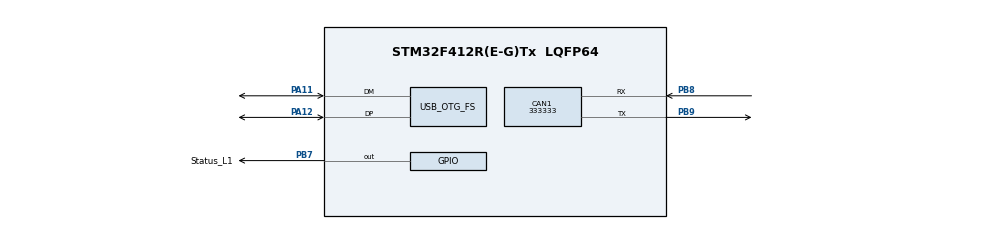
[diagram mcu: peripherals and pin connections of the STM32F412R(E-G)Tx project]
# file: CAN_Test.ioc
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CAN1.CalculateBaudRate=333333
CAN1.CalculateTimeBit=3000
CAN1.CalculateTimeQuantum=1000.0
Mcu.Family=STM32F4
Mcu.Name=STM32F412R(E-G)Tx
Mcu.Package=LQFP64
NVIC.PriorityGroup=NVIC_PRIORITYGROUP_4
PA11.Mode=Device_Only
PA11.Signal=USB_OTG_FS_DM
PA12.Mode=Device_Only
PA12.Signal=USB_OTG_FS_DP
PA13.Mode=Trace_Asynchronous_SW
PA13.Signal=SYS_JTMS-SWDIO
PA14.Mode=Trace_Asynchronous_SW
PA14.Signal=SYS_JTCK-SWCLK
PB3.Mode=Trace_Asynchronous_SW
PB3.Signal=SYS_JTDO-SWO
PB7.GPIO_Label=Status_L1
PB7.Signal=GPIO_Output
PB8.Mode=CAN_Activate
PB8.Signal=CAN1_RX
PB9.Mode=CAN_Activate
PB9.Signal=CAN1_TX
PH0\ -\ OSC_IN.Mode=HSE-External-Oscillator
PH0\ -\ OSC_IN.Signal=RCC_OSC_IN
PH1\ -\ OSC_OUT.Mode=HSE-External-Oscillator
PH1\ -\ OSC_OUT.Signal=RCC_OSC_OUT
ProjectManager.HeapSize=0x200
ProjectManager.StackSize=0x400
ProjectManager.TargetToolchain=STM32CubeIDE
RCC.CortexFreq_Value=16000000
RCC.PLLM=15
RCC.PLLN=144
RCC.PLLQ=5
RCC.USBFreq_Value=48000000
RCC.VCOOutputFreq_Value=240000000
USB_OTG_FS.VirtualMode=Device_Only
board=custom

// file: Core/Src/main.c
/* USER CODE BEGIN Header */
/**
  ******************************************************************************
  * @file           : main.c
  * @brief          : Main program body
  ******************************************************************************
  * @attention
  *
  * Copyright (c) 2022 STMicroelectronics.
  * All rights reserved.
  *
  * This software is licensed under terms that can be found in the LICENSE file
  * in the root directory of this software component.
  * If no LICENSE file comes with this software, it is provided AS-IS.
  *
  ******************************************************************************
  */
/* USER CODE END Header */
#include "main.h"

/* USER CODE BEGIN PD */
#define MASTER
// #define SLAVE
/* USER CODE END PD */

CAN_HandleTypeDef hcan1;

PCD_HandleTypeDef hpcd_USB_OTG_FS;

void SystemClock_Config(void);
static void MX_GPIO_Init(void);
static void MX_CAN1_Init(void);
static void MX_USB_OTG_FS_PCD_Init(void);

/* USER CODE BEGIN 0 */
CAN_TxHeaderTypeDef	TxHeader;
CAN_RxHeaderTypeDef RxHeader;
uint8_t TxData[8];
uint8_t RxData[8];

uint32_t TxMailbox;

/* USER CODE END 0 */

int main(void)
{

  /* MCU Configuration--------------------------------------------------------*/

  /* Reset of all peripherals, Initializes the Flash interface and the Systick. */
  HAL_Init();

  /* Configure the system clock */
  SystemClock_Config();

  /* Initialize all configured peripherals */
  MX_GPIO_Init();
  MX_CAN1_Init();
  MX_USB_OTG_FS_PCD_Init();
  /* USER CODE BEGIN 2 */
  HAL_CAN_Start(&hcan1);

  HAL_CAN_ActivateNotification(&hcan1,CAN_IT_RX_FIFO0_MSG_PENDING);

  TxHeader.DLC = 2;  // data length
  TxHeader.IDE = CAN_ID_STD;
  TxHeader.RTR = CAN_RTR_DATA;
  TxData[0] = 0x10;
  TxData[1] = 0x11;

#ifdef MASTER
  TxHeader.StdId = 0x446;  // ID
  HAL_GPIO_WritePin(GPIOA,GPIO_PIN_2,SET);
  HAL_CAN_AddTxMessage(&hcan1,&TxHeader,TxData,&TxMailbox);
#else
  TxHeader.StdId = 0x445;  // ID
#endif
  /* USER CODE END 2 */

  /* Infinite loop */
  while (1)
  {

  }
}

void SystemClock_Config(void)
{
  RCC_OscInitTypeDef RCC_OscInitStruct = {0};
  RCC_ClkInitTypeDef RCC_ClkInitStruct = {0};

  /** Configure the main internal regulator output voltage
  */
  __HAL_RCC_PWR_CLK_ENABLE();
  __HAL_PWR_VOLTAGESCALING_CONFIG(PWR_REGULATOR_VOLTAGE_SCALE1);

  /** Initializes the RCC Oscillators according to the specified parameters
  * in the RCC_OscInitTypeDef structure.
  */
  RCC_OscInitStruct.OscillatorType = RCC_OSCILLATORTYPE_HSI|RCC_OSCILLATORTYPE_HSE;
  RCC_OscInitStruct.HSEState = RCC_HSE_ON;
  RCC_OscInitStruct.HSIState = RCC_HSI_ON;
  RCC_OscInitStruct.HSICalibrationValue = RCC_HSICALIBRATION_DEFAULT;
  RCC_OscInitStruct.PLL.PLLState = RCC_PLL_ON;
  RCC_OscInitStruct.PLL.PLLSource = RCC_PLLSOURCE_HSE;
  RCC_OscInitStruct.PLL.PLLM = 15;
  RCC_OscInitStruct.PLL.PLLN = 144;
  RCC_OscInitStruct.PLL.PLLP = RCC_PLLP_DIV2;
  RCC_OscInitStruct.PLL.PLLQ = 5;
  RCC_OscInitStruct.PLL.PLLR = 2;
  if (HAL_RCC_OscConfig(&RCC_OscInitStruct) != HAL_OK)
  {
    Error_Handler();
  }

  /** Initializes the CPU, AHB and APB buses clocks
  */
  RCC_ClkInitStruct.ClockType = RCC_CLOCKTYPE_HCLK|RCC_CLOCKTYPE_SYSCLK
                              |RCC_CLOCKTYPE_PCLK1|RCC_CLOCKTYPE_PCLK2;
  RCC_ClkInitStruct.SYSCLKSource = RCC_SYSCLKSOURCE_HSI;
  RCC_ClkInitStruct.AHBCLKDivider = RCC_SYSCLK_DIV1;
  RCC_ClkInitStruct.APB1CLKDivider = RCC_HCLK_DIV1;
  RCC_ClkInitStruct.APB2CLKDivider = RCC_HCLK_DIV1;

  if (HAL_RCC_ClockConfig(&RCC_ClkInitStruct, FLASH_LATENCY_0) != HAL_OK)
  {
    Error_Handler();
  }
}

static void MX_CAN1_Init(void)
{

  hcan1.Instance = CAN1;
  hcan1.Init.Prescaler = 16;
  hcan1.Init.Mode = CAN_MODE_NORMAL;
  hcan1.Init.SyncJumpWidth = CAN_SJW_1TQ;
  hcan1.Init.TimeSeg1 = CAN_BS1_1TQ;
  hcan1.Init.TimeSeg2 = CAN_BS2_1TQ;
  hcan1.Init.TimeTriggeredMode = DISABLE;
  hcan1.Init.AutoBusOff = DISABLE;
  hcan1.Init.AutoWakeUp = DISABLE;
  hcan1.Init.AutoRetransmission = ENABLE;
  hcan1.Init.ReceiveFifoLocked = DISABLE;
  hcan1.Init.TransmitFifoPriority = DISABLE;
  if (HAL_CAN_Init(&hcan1) != HAL_OK)
  {
    Error_Handler();
  }
  /* USER CODE BEGIN CAN1_Init 2 */
  CAN_FilterTypeDef CAN_Filt;

  CAN_Filt.FilterActivation = CAN_FILTER_ENABLE;
  CAN_Filt.FilterBank = 18;  // which filter bank to use from the assigned ones
  CAN_Filt.FilterFIFOAssignment = CAN_FILTER_FIFO0;
  CAN_Filt.FilterIdHigh = 0xFFF<<5; // No register filter
  CAN_Filt.FilterIdLow = 0;
  CAN_Filt.FilterMaskIdHigh = 0xFFF<<5; // No register filter
  CAN_Filt.FilterMaskIdLow = 0x0000;
  CAN_Filt.FilterMode = CAN_FILTERMODE_IDMASK;
  CAN_Filt.FilterScale = CAN_FILTERSCALE_32BIT;
  CAN_Filt.SlaveStartFilterBank = 20;  // how many filters to assign to the CAN1 (master can)

  HAL_CAN_ConfigFilter(&hcan1, &CAN_Filt);
  /* USER CODE END CAN1_Init 2 */

}

static void MX_USB_OTG_FS_PCD_Init(void)
{

  hpcd_USB_OTG_FS.Instance = USB_OTG_FS;
  hpcd_USB_OTG_FS.Init.dev_endpoints = 6;
  hpcd_USB_OTG_FS.Init.speed = PCD_SPEED_FULL;
  hpcd_USB_OTG_FS.Init.dma_enable = DISABLE;
  hpcd_USB_OTG_FS.Init.phy_itface = PCD_PHY_EMBEDDED;
  hpcd_USB_OTG_FS.Init.Sof_enable = DISABLE;
  hpcd_USB_OTG_FS.Init.low_power_enable = DISABLE;
  hpcd_USB_OTG_FS.Init.lpm_enable = DISABLE;
  hpcd_USB_OTG_FS.Init.battery_charging_enable = DISABLE;
  hpcd_USB_OTG_FS.Init.vbus_sensing_enable = DISABLE;
  hpcd_USB_OTG_FS.Init.use_dedicated_ep1 = DISABLE;
  if (HAL_PCD_Init(&hpcd_USB_OTG_FS) != HAL_OK)
  {
    Error_Handler();
  }

}

static void MX_GPIO_Init(void)
{
  GPIO_InitTypeDef GPIO_InitStruct = {0};

  /* GPIO Ports Clock Enable */
  __HAL_RCC_GPIOH_CLK_ENABLE();
  __HAL_RCC_GPIOA_CLK_ENABLE();
  __HAL_RCC_GPIOB_CLK_ENABLE();

  /*Configure GPIO pin Output Level */
  HAL_GPIO_WritePin(Status_L1_GPIO_Port, Status_L1_Pin, GPIO_PIN_RESET);

  /*Configure GPIO pin : Status_L1_Pin */
  GPIO_InitStruct.Pin = Status_L1_Pin;
  GPIO_InitStruct.Mode = GPIO_MODE_OUTPUT_PP;
  GPIO_InitStruct.Pull = GPIO_NOPULL;
  GPIO_InitStruct.Speed = GPIO_SPEED_FREQ_LOW;
  HAL_GPIO_Init(Status_L1_GPIO_Port, &GPIO_InitStruct);

}

/* USER CODE BEGIN 4 */
void HAL_CAN_RxFifo0MsgPendingCallback(CAN_HandleTypeDef *hcan)
{
	HAL_CAN_GetRxMessage(hcan, CAN_RX_FIFO0, &RxHeader, RxData);
	if (RxHeader.DLC == 2 && RxData[1] == 0x10)
	{
		HAL_GPIO_TogglePin(GPIOA,GPIO_PIN_2);
    HAL_Delay(1000);
    HAL_CAN_AddTxMessage(&hcan1,&TxHeader,TxData,&TxMailbox);
	}
}
/* USER CODE END 4 */

void Error_Handler(void)
{
  __disable_irq();
  while (1)
  {
  }
}
